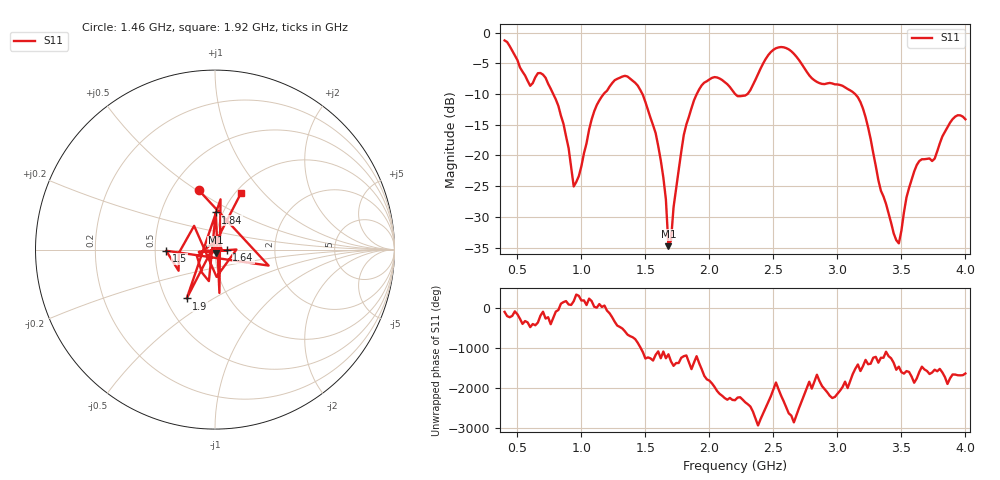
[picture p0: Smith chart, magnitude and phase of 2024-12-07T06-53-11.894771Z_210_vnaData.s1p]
!Created with skrf (http://scikit-rf.org).
# Hz S RI R 50.0
!freq ReS11 ImS11
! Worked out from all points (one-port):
!   181 points, 400 MHz to 4 GHz, reference 50 ohm
!   lowest |S11| = -34.8 dB at 1.68 GHz (marker M1), VSWR 1.04, Z = 50.5 - j1.76 ohm
!   |S11| at or under -10 dB: 780 MHz to 1.174 GHz (394.2 MHz wide, 40.3 % of centre); 1.477 GHz to 1.901 GHz (424.5 MHz wide, 25.1 % of centre); 3.138 GHz to end of sweep (the widest 3 of 4)
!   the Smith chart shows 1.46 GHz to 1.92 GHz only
!   S11 on the Smith chart (normalised r, x): 1.46 GHz: 0.68, +0.51; 1.5 GHz: 0.57, -0.01; 1.64 GHz: 1.14, -0.01; 1.84 GHz: 0.93, +0.40; 1.9 GHz: 0.64, -0.39; 1.92 GHz: 1.06, +0.75
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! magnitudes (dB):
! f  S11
! 400 MHz  -1.3
! 600 MHz  -8.7
! 720 MHz  -7.4
! 860 MHz  -14.9
! 940 MHz  -25.0
! 1.12 GHz  -11.8
! 1.3 GHz  -7.4
! 1.46 GHz  -9.3
! 1.5 GHz  -11.3
! 1.64 GHz  -23.6
! 1.68 GHz  -34.8
! 1.7 GHz  -33.8
! 1.76 GHz  -22.4
! 1.84 GHz  -13.7
! 1.9 GHz  -10.0
! 1.92 GHz  -9.2
! 2.04 GHz  -7.2
! 2.2 GHz  -10.0
! 2.3 GHz  -10.0
! 2.5 GHz  -2.8
! 2.66 GHz  -3.4
! 3.1 GHz  -9.4
! 3.2 GHz  -12.4
! 3.46 GHz  -33.8
! 3.48 GHz  -34.3
! 3.56 GHz  -25.3
! 3.9 GHz  -14.1
! 4 GHz  -14.1
